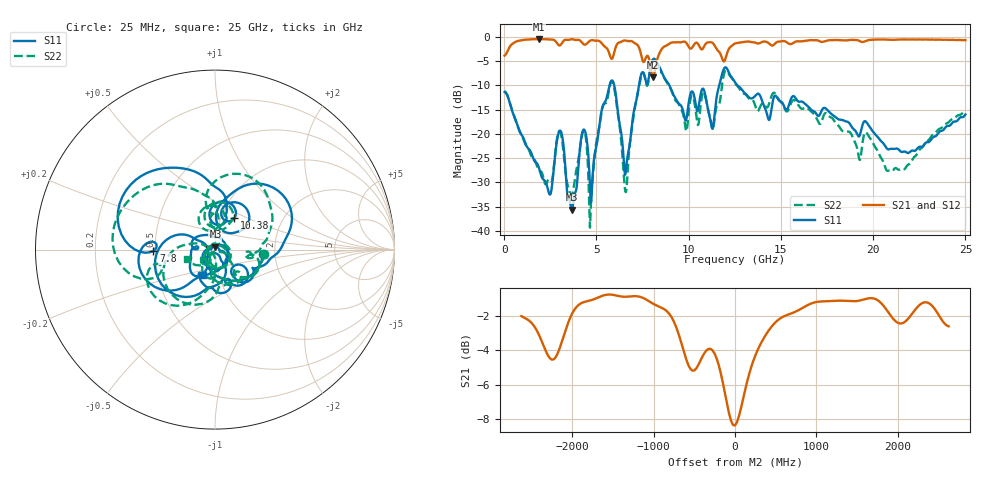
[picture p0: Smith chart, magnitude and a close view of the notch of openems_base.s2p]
! RG_s4_pwr_n4: Finite board 24 × 16 mm, via L1 → L4 through the GND/PWR pair L2/L3, four GND vias at 1 mm joined to L2 only (openings in the PWR plane L3)
! stackup: 4-layer 1.6 mm FR-4
! ports: 1 L1, 2 L4
! openEMS 0.37.0, staircase, base mesh (dfine 0.07 mm), 805736 cells
# Hz S RI R 50
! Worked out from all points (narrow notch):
!   1000 points, 25 MHz to 25 GHz, reference 50 ohm
!   highest |S21| = -0.46 dB at 1.875 GHz (marker M1); lowest = -8.4 dB at 8.075 GHz (marker M2)
!   notch at M2: 7.5 dB deep, 438 MHz wide at half that depth
!   lowest |S11| = -35.6 dB at 3.675 GHz (marker M3), VSWR 1.03, Z = 50.2 + j1.65 ohm
!   |S11| at or under -10 dB: start of sweep to 5.713 GHz; 8.954 GHz to 11.66 GHz (2.705 GHz wide, 26.2 % of centre); 12.64 GHz to end of sweep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
!   |S22| runs from -39.3 to -4.8 dB; largest |S21 - S12| = 0.0087
!   S11 on the Smith chart (normalised r, x): 25 MHz: 1.73, -0.09; 7.8 GHz: 0.49, -0.01; 10.38 GHz: 1.16, +0.42; 25 GHz: 0.84, -0.24
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2.5e7  0.2695 -0.024  0.6403 0.0143  0.6397 0.0145  0.2737 -0.0243
1.875e9  -0.0454 0.00148  0.6979 -0.6416  0.6944 -0.6389  -0.042 -0.000224
2.5e9  0.0025 0.0236  0.4681 -0.8131  0.4639 -0.8169  0.00475 0.0331
3.05e9  -0.011 -0.1071  0.2874 -0.7703  0.2937 -0.7683  -0.0042 -0.1035
3.675e9  0.00223 0.0164  0.0495 -0.944  0.0491 -0.9366  0.00489 0.0231
4.2e9  0.063 -0.0734  -0.2188 -0.8541  -0.2185 -0.8619  0.0834 -0.0386
4.7e9  -0.00458 -0.019  -0.3306 -0.8579  -0.3339 -0.8505  0.0149 -0.0106
5.85e9  -0.3163 -0.1627  -0.4134 -0.4273  -0.4051 -0.4268  -0.2402 -0.2506
6.6e9  -0.0374 -0.0194  -0.8292 -0.3824  -0.824 -0.3887  -0.0174 -0.0182
7.35e9  -0.2731 -0.2276  -0.7259 0.1426  -0.7285 0.1347  -0.1529 -0.3034
7.8e9  -0.343 -0.00687  -0.6211 0.1089  -0.628 0.1125  -0.3044 -0.131
8.075e9  -0.5315 0.2555  -0.3813 -0.00837  -0.3869 -0.0131  -0.5711 0.0581
8.35e9  -0.2417 0.4565  -0.6102 -0.1562  -0.6076 -0.1615  -0.377 0.3474
1.0375e10  0.1076 0.1744  -0.5384 0.6783  -0.5336 0.6794  0.054 0.1694
1.1275e10  0.0603 0.0961  -0.1673 0.8561  -0.1703 0.8571  0.0341 0.1098
1.185e10  0.2342 0.368  -0.00866 0.5752  -0.00568 0.5726  -0.0227 0.357
1.2525e10  0.3366 -0.029  0.0218 0.8547  0.024 0.8517  0.3092 0.1187
1.6675e10  -0.0841 -0.1538  0.8885 -0.2478  0.8895 -0.2442  -0.00272 -0.1681
1.8925e10  -0.1121 0.0126  0.3129 -0.8735  0.3144 -0.8765  -0.0719 -0.0526
2.085e10  -0.00537 0.0691  -0.4147 -0.8349  -0.4162 -0.836  -0.0348 -0.0233
2.3e10  0.0604 -0.0559  -0.9194 -0.1714  -0.9228 -0.1702  -0.0427 -0.0747
2.5e10  -0.0696 -0.1423  -0.7131 0.5896  -0.7083 0.5861  -0.1586 -0.0545
